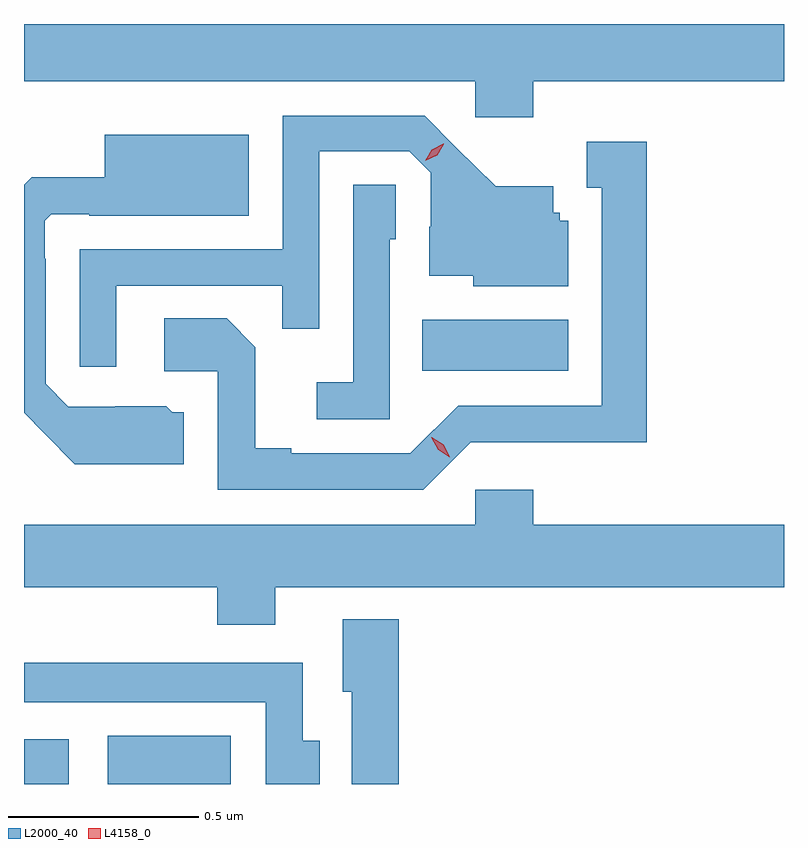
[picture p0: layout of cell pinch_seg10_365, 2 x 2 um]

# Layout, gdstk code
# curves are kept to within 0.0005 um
import gdstk
lib = gdstk.Library(unit=1e-6, precision=1e-09)
def R(c, l, rs):  # rectangles x0, y0, x1, y1
    for r in rs: c.add(gdstk.rectangle(r[:2], r[2:], *l))
def P(c, l, *ps):  # polygons
    for p in ps: c.add(gdstk.Polygon(p, *l))
L2000_40 = (2000, 40)
L4158_0 = (4158, 0)

pinch_seg10_365 = lib.new_cell('pinch_seg10_365')
R(pinch_seg10_365, L2000_40, [(410.268,1266.498,410.386,1266.616), (410.489,1266.498,410.812,1266.625), (411.316,1267.586,411.7,1267.72)])
P(pinch_seg10_365, L2000_40, [(411.608,1268.348),(412.268,1268.348),(412.268,1268.498),(410.268,1268.498),(410.268,1268.348),(411.456,1268.348),(411.456,1268.253),(411.608,1268.253)],
  [(410.511,1267.809),(410.947,1267.809),(410.947,1267.696),(411.045,1267.696),(411.045,1268.163),(411.282,1268.163),(411.339,1268.106),(411.339,1267.964),(411.335,1267.964),(411.335,1267.835),(411.45,1267.835),(411.45,1267.808),(411.7,1267.808),(411.7,1267.98),(411.678,1267.98),(411.678,1268.001),(411.661,1268.001),(411.661,1268.071),(411.509,1268.071),(411.322,1268.256),(410.949,1268.256),(410.949,1267.905),(410.415,1267.905),(410.415,1267.596),(410.511,1267.596)],
  [(410.689,1267.476),(410.658,1267.476),(410.642,1267.492),(410.508,1267.492),(410.508,1267.491),(410.385,1267.491),(410.325,1267.551),(410.325,1267.88),(410.322,1267.88),(410.322,1267.98),(410.34,1267.998),(410.44,1267.998),(410.44,1267.994),(410.86,1267.994),(410.86,1268.206),(410.48,1268.206),(410.48,1268.095),(410.288,1268.095),(410.268,1268.075),(410.268,1267.475),(410.401,1267.34),(410.689,1267.34)],
  [(411.444,1267.398),(411.666,1267.398),(411.666,1267.397),(411.907,1267.397),(411.907,1268.188),(411.749,1268.188),(411.749,1268.067),(411.788,1268.067),(411.788,1267.494),(411.411,1267.494),(411.285,1267.368),(410.971,1267.368),(410.971,1267.381),(410.877,1267.381),(410.877,1267.648),(410.801,1267.724),(410.637,1267.724),(410.637,1267.584),(410.778,1267.584),(410.778,1267.272),(411.318,1267.272)],
  [(411.231,1267.932),(411.246,1267.932),(411.246,1268.075),(411.135,1268.075),(411.135,1267.555),(411.039,1267.555),(411.039,1267.458),(411.231,1267.458)],
  [(410.929,1267.016),(412.268,1267.016),(412.268,1267.18),(411.608,1267.18),(411.608,1267.273),(411.456,1267.273),(411.456,1267.18),(410.268,1267.18),(410.268,1267.016),(410.777,1267.016),(410.777,1266.917),(410.929,1266.917)],
  [(411.254,1266.931),(411.107,1266.931),(411.107,1266.741),(411.131,1266.741),(411.131,1266.498),(411.254,1266.498)],
  [(411.046,1266.612),(411.001,1266.612),(411.001,1266.817),(410.268,1266.817),(410.268,1266.713),(410.904,1266.713),(410.904,1266.498),(411.046,1266.498)])
P(pinch_seg10_365, L4158_0, [(411.389,1267.358),(411.358,1267.377),(411.34,1267.41),(411.34,1267.41),(411.341,1267.41),(411.372,1267.391),(411.389,1267.358),(411.389,1267.358)],
  [(411.324,1268.138),(411.324,1268.138),(411.341,1268.167),(411.371,1268.183),(411.372,1268.183),(411.372,1268.182),(411.355,1268.153),(411.324,1268.138)])

lib.write_gds('pinch_seg10_365.gds')
